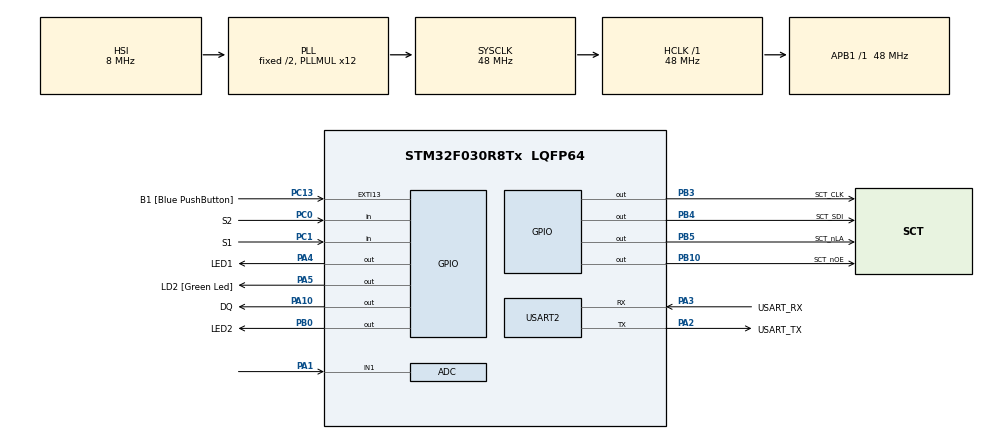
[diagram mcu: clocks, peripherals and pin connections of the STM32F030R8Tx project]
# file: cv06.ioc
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ADC.ContinuousConvMode=ENABLE
ADC.Overrun=ADC_OVR_DATA_OVERWRITTEN
ADC.Resolution=ADC_RESOLUTION_10B
ADC.SamplingTime=ADC_SAMPLETIME_28CYCLES_5
Mcu.Family=STM32F0
Mcu.Name=STM32F030R8Tx
Mcu.Package=LQFP64
PA1.Mode=IN1
PA1.Signal=ADC_IN1
PA10.GPIO_Label=DQ
PA10.GPIO_ModeDefaultOutputPP=GPIO_MODE_OUTPUT_OD
PA10.GPIO_PuPd=GPIO_NOPULL
PA10.Signal=GPIO_Output
PA13.GPIO_Label=TMS
PA13.Mode=Serial_Wire
PA13.Signal=SYS_SWDIO
PA14.GPIO_Label=TCK
PA14.Mode=Serial_Wire
PA14.Signal=SYS_SWCLK
PA2.GPIO_Label=USART_TX
PA2.GPIO_Mode=GPIO_MODE_AF_PP
PA2.GPIO_PuPd=GPIO_NOPULL
PA2.GPIO_Speed=GPIO_SPEED_FREQ_LOW
PA2.Mode=Asynchronous
PA2.Signal=USART2_TX
PA3.GPIO_Label=USART_RX
PA3.GPIO_Mode=GPIO_MODE_AF_PP
PA3.GPIO_PuPd=GPIO_NOPULL
PA3.GPIO_Speed=GPIO_SPEED_FREQ_LOW
PA3.Mode=Asynchronous
PA3.Signal=USART2_RX
PA4.GPIO_Label=LED1
PA4.Signal=GPIO_Output
PA5.GPIO_Label=LD2 [Green Led]
PA5.GPIO_Mode=GPIO_MODE_OUTPUT_PP
PA5.GPIO_PuPd=GPIO_NOPULL
PA5.GPIO_Speed=GPIO_SPEED_FREQ_LOW
PA5.Signal=GPIO_Output
PB0.GPIO_Label=LED2
PB0.Signal=GPIO_Output
PB10.GPIO_Label=SCT_nOE
PB10.Signal=GPIO_Output
PB3.GPIO_Label=SCT_CLK
PB3.Signal=GPIO_Output
PB4.GPIO_Label=SCT_SDI
PB4.Signal=GPIO_Output
PB5.GPIO_Label=SCT_nLA
PB5.Signal=GPIO_Output
PC0.GPIO_Label=S2
PC0.GPIO_PuPd=GPIO_PULLUP
PC0.Signal=GPIO_Input
PC1.GPIO_Label=S1
PC1.GPIO_PuPd=GPIO_PULLUP
PC1.Signal=GPIO_Input
PC13.GPIO_Label=B1 [Blue PushButton]
PC13.GPIO_ModeDefaultEXTI=GPIO_MODE_IT_FALLING
PC13.Signal=GPXTI13
PC14-OSC32_IN.Mode=LSE-External-Oscillator
PC14-OSC32_IN.Signal=RCC_OSC32_IN
PC15-OSC32_OUT.Mode=LSE-External-Oscillator
PC15-OSC32_OUT.Signal=RCC_OSC32_OUT
PF0-OSC_IN.Mode=HSE-External-Clock-Source
PF0-OSC_IN.Signal=RCC_OSC_IN
PF1-OSC_OUT.Signal=RCC_OSC_OUT
ProjectManager.HeapSize=0x200
ProjectManager.StackSize=0x400
ProjectManager.TargetToolchain=STM32CubeIDE
RCC.AHBFreq_Value=48000000
RCC.APB1Freq_Value=48000000
RCC.APB1TimFreq_Value=48000000
RCC.HCLKFreq_Value=48000000
RCC.PLLMUL=RCC_PLL_MUL12
RCC.SYSCLKFreq_VALUE=48000000
RCC.SYSCLKSource=RCC_SYSCLKSOURCE_PLLCLK
USART2.VirtualMode-Asynchronous=VM_ASYNC
board=NUCLEO-F030R8

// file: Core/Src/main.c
/* USER CODE BEGIN Header */
/**
 ******************************************************************************
 * @file           : main.c
 * @brief          : Main program body
 ******************************************************************************
 * @attention
 *
 * Copyright (c) 2022 STMicroelectronics.
 * All rights reserved.
 *
 * This software is licensed under terms that can be found in the LICENSE file
 * in the root directory of this software component.
 * If no LICENSE file comes with this software, it is provided AS-IS.
 *
 ******************************************************************************
 */
/* USER CODE END Header */
#include "main.h"

/* USER CODE BEGIN Includes */
#include "1wire.h"
#include "sct.h"
#include "data.h"
/* USER CODE END Includes */

ADC_HandleTypeDef hadc;

UART_HandleTypeDef huart2;

void SystemClock_Config(void);
static void MX_GPIO_Init(void);
static void MX_USART2_UART_Init(void);
static void MX_ADC_Init(void);

int main(void) {

	/* MCU Configuration--------------------------------------------------------*/

	/* Reset of all peripherals, Initializes the Flash interface and the Systick. */
	HAL_Init();

	/* Configure the system clock */
	SystemClock_Config();

	/* Initialize all configured peripherals */
	MX_GPIO_Init();
	MX_USART2_UART_Init();
	MX_ADC_Init();
	/* USER CODE BEGIN 2 */
	HAL_ADCEx_Calibration_Start(&hadc);
	HAL_ADC_Start(&hadc);

	sct_init();
	OWInit();

	OWConvertAll();
	HAL_Delay(CONVERT_T_DELAY);
	HAL_GPIO_WritePin(LED2_GPIO_Port, LED2_Pin, 1);

	/* USER CODE END 2 */

	/* Infinite loop */
	/* USER CODE BEGIN WHILE */
	while (1) {
		static enum{ST_DS, ST_NTC} state = ST_DS;
		static uint32_t lastDisplayTicks = 0;

		if(!HAL_GPIO_ReadPin(S1_GPIO_Port, S1_Pin)) {
			state = ST_DS;
			HAL_GPIO_WritePin(LED1_GPIO_Port, LED1_Pin, 0);
			HAL_GPIO_WritePin(LED2_GPIO_Port, LED2_Pin, 1);
		} else if(!HAL_GPIO_ReadPin(S2_GPIO_Port, S2_Pin)) {
			state = ST_NTC;
			HAL_GPIO_WritePin(LED1_GPIO_Port, LED1_Pin, 1);
			HAL_GPIO_WritePin(LED2_GPIO_Port, LED2_Pin, 0);
		}

		if (HAL_GetTick() >= lastDisplayTicks+CONVERT_T_DELAY) {
			lastDisplayTicks = HAL_GetTick();

			if (state == ST_DS) {
				int16_t temp_18b20;
				OWReadTemperature(&temp_18b20);
				sct_value(temp_18b20/10);

				OWConvertAll();
			} else {
				uint16_t adc = HAL_ADC_GetValue(&hadc);
				sct_value(NTC_LOOKUP_TABLE[adc]);

			}

		}

		/* USER CODE END WHILE */

	}
}

void SystemClock_Config(void) {
	RCC_OscInitTypeDef RCC_OscInitStruct = { 0 };
	RCC_ClkInitTypeDef RCC_ClkInitStruct = { 0 };

	/** Initializes the RCC Oscillators according to the specified parameters
	 * in the RCC_OscInitTypeDef structure.
	 */
	RCC_OscInitStruct.OscillatorType = RCC_OSCILLATORTYPE_HSI
			| RCC_OSCILLATORTYPE_HSI14;
	RCC_OscInitStruct.HSIState = RCC_HSI_ON;
	RCC_OscInitStruct.HSI14State = RCC_HSI14_ON;
	RCC_OscInitStruct.HSICalibrationValue = RCC_HSICALIBRATION_DEFAULT;
	RCC_OscInitStruct.HSI14CalibrationValue = 16;
	RCC_OscInitStruct.PLL.PLLState = RCC_PLL_ON;
	RCC_OscInitStruct.PLL.PLLSource = RCC_PLLSOURCE_HSI;
	RCC_OscInitStruct.PLL.PLLMUL = RCC_PLL_MUL12;
	RCC_OscInitStruct.PLL.PREDIV = RCC_PREDIV_DIV1;
	if (HAL_RCC_OscConfig(&RCC_OscInitStruct) != HAL_OK) {
		Error_Handler();
	}

	/** Initializes the CPU, AHB and APB buses clocks
	 */
	RCC_ClkInitStruct.ClockType = RCC_CLOCKTYPE_HCLK | RCC_CLOCKTYPE_SYSCLK
			| RCC_CLOCKTYPE_PCLK1;
	RCC_ClkInitStruct.SYSCLKSource = RCC_SYSCLKSOURCE_PLLCLK;
	RCC_ClkInitStruct.AHBCLKDivider = RCC_SYSCLK_DIV1;
	RCC_ClkInitStruct.APB1CLKDivider = RCC_HCLK_DIV1;

	if (HAL_RCC_ClockConfig(&RCC_ClkInitStruct, FLASH_LATENCY_1) != HAL_OK) {
		Error_Handler();
	}
}

static void MX_ADC_Init(void) {

	ADC_ChannelConfTypeDef sConfig = { 0 };

	/** Configure the global features of the ADC (Clock, Resolution, Data Alignment and number of conversion)
	 */
	hadc.Instance = ADC1;
	hadc.Init.ClockPrescaler = ADC_CLOCK_ASYNC_DIV1;
	hadc.Init.Resolution = ADC_RESOLUTION_10B;
	hadc.Init.DataAlign = ADC_DATAALIGN_RIGHT;
	hadc.Init.ScanConvMode = ADC_SCAN_DIRECTION_FORWARD;
	hadc.Init.EOCSelection = ADC_EOC_SINGLE_CONV;
	hadc.Init.LowPowerAutoWait = DISABLE;
	hadc.Init.LowPowerAutoPowerOff = DISABLE;
	hadc.Init.ContinuousConvMode = ENABLE;
	hadc.Init.DiscontinuousConvMode = DISABLE;
	hadc.Init.ExternalTrigConv = ADC_SOFTWARE_START;
	hadc.Init.ExternalTrigConvEdge = ADC_EXTERNALTRIGCONVEDGE_NONE;
	hadc.Init.DMAContinuousRequests = DISABLE;
	hadc.Init.Overrun = ADC_OVR_DATA_OVERWRITTEN;
	if (HAL_ADC_Init(&hadc) != HAL_OK) {
		Error_Handler();
	}

	/** Configure for the selected ADC regular channel to be converted.
	 */
	sConfig.Channel = ADC_CHANNEL_1;
	sConfig.Rank = ADC_RANK_CHANNEL_NUMBER;
	sConfig.SamplingTime = ADC_SAMPLETIME_28CYCLES_5;
	if (HAL_ADC_ConfigChannel(&hadc, &sConfig) != HAL_OK) {
		Error_Handler();
	}

}

static void MX_USART2_UART_Init(void) {

	huart2.Instance = USART2;
	huart2.Init.BaudRate = 38400;
	huart2.Init.WordLength = UART_WORDLENGTH_8B;
	huart2.Init.StopBits = UART_STOPBITS_1;
	huart2.Init.Parity = UART_PARITY_NONE;
	huart2.Init.Mode = UART_MODE_TX_RX;
	huart2.Init.HwFlowCtl = UART_HWCONTROL_NONE;
	huart2.Init.OverSampling = UART_OVERSAMPLING_16;
	huart2.Init.OneBitSampling = UART_ONE_BIT_SAMPLE_DISABLE;
	huart2.AdvancedInit.AdvFeatureInit = UART_ADVFEATURE_NO_INIT;
	if (HAL_UART_Init(&huart2) != HAL_OK) {
		Error_Handler();
	}

}

static void MX_GPIO_Init(void) {
	GPIO_InitTypeDef GPIO_InitStruct = { 0 };

	/* GPIO Ports Clock Enable */
	__HAL_RCC_GPIOC_CLK_ENABLE();
	__HAL_RCC_GPIOF_CLK_ENABLE();
	__HAL_RCC_GPIOA_CLK_ENABLE();
	__HAL_RCC_GPIOB_CLK_ENABLE();

	/*Configure GPIO pin Output Level */
	HAL_GPIO_WritePin(GPIOA, GPIO_PIN_4 | GPIO_PIN_5 | GPIO_PIN_10,
			GPIO_PIN_RESET);

	/*Configure GPIO pin Output Level */
	HAL_GPIO_WritePin(GPIOB,
			GPIO_PIN_0 | GPIO_PIN_10 | GPIO_PIN_3 | GPIO_PIN_4 | GPIO_PIN_5,
			GPIO_PIN_RESET);

	/*Configure GPIO pin : PC13 */
	GPIO_InitStruct.Pin = GPIO_PIN_13;
	GPIO_InitStruct.Mode = GPIO_MODE_IT_FALLING;
	GPIO_InitStruct.Pull = GPIO_NOPULL;
	HAL_GPIO_Init(GPIOC, &GPIO_InitStruct);

	/*Configure GPIO pins : PC0 PC1 */
	GPIO_InitStruct.Pin = GPIO_PIN_0 | GPIO_PIN_1;
	GPIO_InitStruct.Mode = GPIO_MODE_INPUT;
	GPIO_InitStruct.Pull = GPIO_PULLUP;
	HAL_GPIO_Init(GPIOC, &GPIO_InitStruct);

	/*Configure GPIO pins : PA4 PA5 */
	GPIO_InitStruct.Pin = GPIO_PIN_4 | GPIO_PIN_5;
	GPIO_InitStruct.Mode = GPIO_MODE_OUTPUT_PP;
	GPIO_InitStruct.Pull = GPIO_NOPULL;
	GPIO_InitStruct.Speed = GPIO_SPEED_FREQ_LOW;
	HAL_GPIO_Init(GPIOA, &GPIO_InitStruct);

	/*Configure GPIO pins : PB0 PB10 PB3 PB4
	 PB5 */
	GPIO_InitStruct.Pin = GPIO_PIN_0 | GPIO_PIN_10 | GPIO_PIN_3 | GPIO_PIN_4
			| GPIO_PIN_5;
	GPIO_InitStruct.Mode = GPIO_MODE_OUTPUT_PP;
	GPIO_InitStruct.Pull = GPIO_NOPULL;
	GPIO_InitStruct.Speed = GPIO_SPEED_FREQ_LOW;
	HAL_GPIO_Init(GPIOB, &GPIO_InitStruct);

	/*Configure GPIO pin : PA10 */
	GPIO_InitStruct.Pin = GPIO_PIN_10;
	GPIO_InitStruct.Mode = GPIO_MODE_OUTPUT_OD;
	GPIO_InitStruct.Pull = GPIO_NOPULL;
	GPIO_InitStruct.Speed = GPIO_SPEED_FREQ_LOW;
	HAL_GPIO_Init(GPIOA, &GPIO_InitStruct);

}

void Error_Handler(void) {
	__disable_irq();
	while (1) {
	}
}
